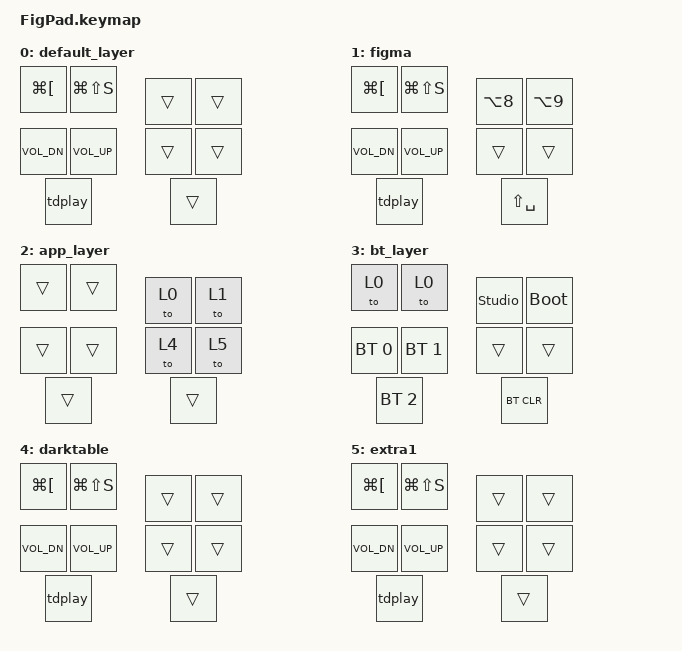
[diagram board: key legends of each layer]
#include <behaviors.dtsi>
#include <dt-bindings/zmk/bt.h>
#include <dt-bindings/zmk/keys.h>

/ {
    behaviors {
        tdplay: tap_dance_music {
            compatible = "zmk,behavior-tap-dance";
            #binding-cells = <0>;
            tapping-term-ms = <300>;
            bindings = <&kp C_PP>, <&kp C_NEXT>, <&kp C_PREV>;
        };
    };
    combos {
        compatible = "zmk,combos";

        combo_apps {
            bindings = <&sl 2>;
            key-positions = <0 1>;
        };
        combo_bluetooth {
            bindings = <&sl 3>;
            key-positions = <8 9>;
        };
    };

    keymap {
        compatible = "zmk,keymap";

        default_layer {
            bindings = <
                &kp LG(LBKT)   &kp LG(LS(S))      &trans    &trans
                &kp C_VOL_DN  &kp C_VOL_UP            &trans &trans
                &tdplay                         &trans
            >;
        };

        figma {
            bindings = <
                &kp LG(LBKT)   &kp LG(LS(S))       &kp LA(N8)  &kp LA(N9)
                &kp C_VOL_DN  &kp C_VOL_UP   &trans  &trans
                &tdplay                   &kp LS(SPACE)
            >;
        };

        app_layer {
            bindings = <
                &trans &trans &to 0 &to 1
                &trans &trans &to 4 &to 5
                &trans &trans
            >;
        };

        bt_layer {
            bindings = <
                &to 0         &to 0       &studio_unlock  &bootloader
                &bt BT_SEL 0  &bt BT_SEL 1  &trans  &trans
                &bt BT_SEL 2                &bt BT_CLR
            >;
        };

        darktable {
            bindings = <
                &kp LG(LBKT)   &kp LG(LS(S))      &trans    &trans
                &kp C_VOL_DN  &kp C_VOL_UP            &trans &trans
                &tdplay                         &trans
            >;
        };

        extra1 {
            bindings = <
                &kp LG(LBKT)   &kp LG(LS(S))      &trans    &trans
                &kp C_VOL_DN  &kp C_VOL_UP            &trans &trans
                &tdplay                         &trans
            >;
        };

    };
};
